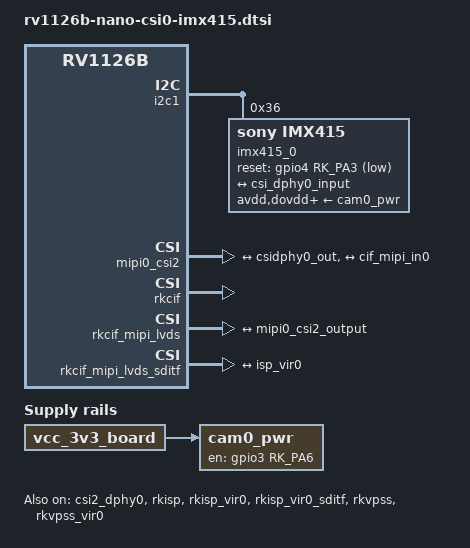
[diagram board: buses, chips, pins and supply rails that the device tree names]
// SPDX-License-Identifier: (GPL-2.0+ OR MIT)
/*
 * Copyright (c) 2025 Guangzhou EASY EAI Technology Co., Ltd.
 */

/*
 * csi2_dphy0 -> csi0(rx0) clk0 + 4 lane
 * csi2_dphy1 -> csi0(rx0) clk0 + 2 lane 0/1
 * csi2_dphy2 -> csi0(rx0) clk1 + 2 lane 2/3
 * csi2_dphy3 -> csi1(rx1) clk0 + 4 lane
 * csi2_dphy4 -> csi1(rx1) clk0 + 2 lane 0/1
 * csi2_dphy5 -> csi1(rx1) clk1 + 2 lane 2/3
 */

/ {
	cam0_pwr: cam0-pwr {
		compatible = "regulator-fixed";
		gpio = <&gpio3 RK_PA6 GPIO_ACTIVE_HIGH>;
		pinctrl-names = "default";
		pinctrl-0 = <&cam0_en_pin>;
		regulator-name = "cam0_pwr";
		enable-active-high;
		vin-supply = <&vcc_3v3_board>;
	};
};

&csi2_dphy0 {
	status = "okay";

	ports {
		#address-cells = <1>;
		#size-cells = <0>;
		port@0 {
			reg = <0>;
			#address-cells = <1>;
			#size-cells = <0>;

			csi_dphy0_input: endpoint@1 {
				reg = <1>;
				remote-endpoint = <&imx415_out0>;
				data-lanes = <1 2 3 4>;
			};
		};
		port@1 {
			reg = <1>;
			#address-cells = <1>;
			#size-cells = <0>;

			csidphy0_out: endpoint@0 {
				reg = <0>;
				remote-endpoint = <&mipi0_csi2_input>;
				data-lanes = <1 2 3 4>;
			};
		};
	};
};

&i2c1 {
	status = "okay";
	pinctrl-0 = <&i2c1m2_pins>;

	imx415_0: imx415@36 {
		status = "okay";
		compatible = "sony,imx415";
		reg = <0x36>;
		clocks = <&cru CLK_MIPI0_OUT2IO>;
		clock-names = "xvclk";

		//pwdn-gpios = <&gpio4 RK_PA2 GPIO_ACTIVE_LOW>;
		reset-gpios = <&gpio4 RK_PA3 GPIO_ACTIVE_LOW>;
		pinctrl-names = "default";
		pinctrl-0 = <&cam_clk0_pins &csi0_rst &csi0_pwdn>;

		avdd-supply = <&cam0_pwr>;
		dovdd-supply = <&cam0_pwr>;
		dvdd-supply = <&cam0_pwr>;

		rockchip,camera-module-index = <0>;
		rockchip,camera-module-facing = "back";
		rockchip,camera-module-name = "default";
		rockchip,camera-module-lens-name = "default";

		port {
			imx415_out0: endpoint {
				remote-endpoint = <&csi_dphy0_input>;
				data-lanes = <1 2 3 4>;
			};
		};
	};
};

&mipi0_csi2 {
	status = "okay";

	ports {
		#address-cells = <1>;
		#size-cells = <0>;

		port@0 {
			reg = <0>;
			#address-cells = <1>;
			#size-cells = <0>;

			mipi0_csi2_input: endpoint@1 {
				reg = <1>;
				remote-endpoint = <&csidphy0_out>;
			};
		};

		port@1 {
			reg = <1>;
			#address-cells = <1>;
			#size-cells = <0>;

			mipi0_csi2_output: endpoint@0 {
				reg = <0>;
				remote-endpoint = <&cif_mipi_in0>;
			};
		};
	};
};

&pinctrl {
	mipi-csi {
		/omit-if-no-ref/
		csi0_rst: csi0_rst {
			rockchip,pins =
				<4 RK_PA3 RK_FUNC_GPIO &pcfg_pull_up>;
		};

		/omit-if-no-ref/
		csi0_pwdn: csi0_pwdn {
			rockchip,pins =
				<4 RK_PA2 RK_FUNC_GPIO &pcfg_pull_up>;
		};

		/omit-if-no-ref/
		cam0_en_pin: cam0_en_pin {
			rockchip,pins =
				<3 RK_PA6 RK_FUNC_GPIO &pcfg_pull_up>;
		};
	};
};

&rkcif {
	status = "okay";
};

&rkcif_mipi_lvds {
	status = "okay";

	port {
		cif_mipi_in0: endpoint {
			remote-endpoint = <&mipi0_csi2_output>;
		};
	};
};

&rkcif_mipi_lvds_sditf {
	status = "okay";

	port {
		mipi_lvds_sditf: endpoint {
			remote-endpoint = <&isp_vir0>;
		};
	};
};

&rkcif_mmu {
	status = "okay";
};

&rkisp {
	status = "okay";
};

&rkisp_mmu {
	status = "okay";
};

&rkisp_vir0 {
	status = "okay";

	port {
		#address-cells = <1>;
		#size-cells = <0>;

		isp_vir0: endpoint@0 {
			reg = <0>;
			remote-endpoint = <&mipi_lvds_sditf>;
		};
	};
};

&rkisp_vir0_sditf {
	status = "okay";
};

&rkvpss {
	status = "okay";
	dvbm = <&rkdvbm>;
};

&rkvpss_mmu {
	status = "okay";
};

&rkvpss_vir0 {
	status = "okay";
};
